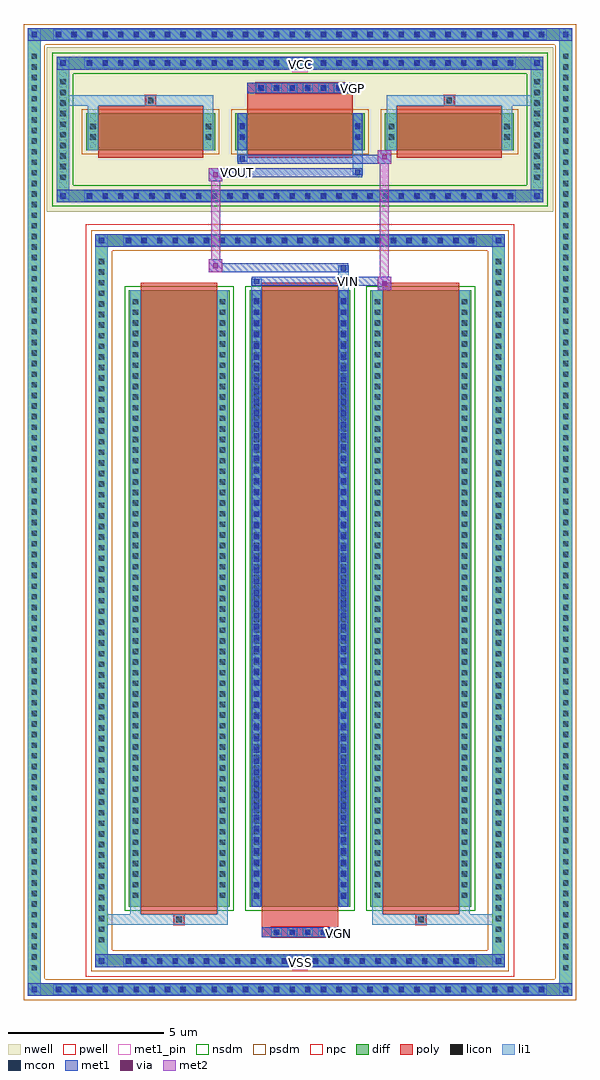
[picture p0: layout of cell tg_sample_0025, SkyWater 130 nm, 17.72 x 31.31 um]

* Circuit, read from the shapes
.subckt tg_sample_0025 VCC VGN VGP VIN VOUT VSS
XM1 VSS VSS VSS VSUBS sky130_fd_pr__nfet_01v8 w=19.77 l=2.46 m=2
XM2 VOUT VGN VIN VSUBS sky130_fd_pr__nfet_01v8 w=19.77 l=2.46
XM3 VCC VCC VCC n1 sky130_fd_pr__pfet_01v8 w=1.18 l=3.37 m=2
XM4 VOUT VGP VIN n1 sky130_fd_pr__pfet_01v8 w=1.18 l=3.37
.ends

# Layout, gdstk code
import gdstk
lib = gdstk.Library(unit=1e-6, precision=5e-09)
def R(c, l, rs):  # rectangles x0, y0, x1, y1
    for r in rs: c.add(gdstk.rectangle(r[:2], r[2:], *l))
def A(c, l, x, y, w, h, nx, ny, dx, dy):  # array of equal rectangles
    R(c, l, [(x+i*dx, y+j*dy, x+i*dx+w, y+j*dy+h) for i in range(nx) for j in range(ny)])
def P(c, l, *ps):  # polygons
    for p in ps: c.add(gdstk.Polygon(p, *l))
nwell = (64, 20)
pwell = (64, 44)
diff = (65, 20)
poly = (66, 20)
licon = (66, 44)
li1 = (67, 20)
mcon = (67, 44)
met1_pin = (68, 16)
met1 = (68, 20)
via = (68, 44)
met2 = (69, 20)
nsdm = (93, 44)
psdm = (94, 20)
npc = (95, 20)

tg_sample_0025 = lib.new_cell('tg_sample_0025')
R(tg_sample_0025, nwell, [(-8.12,12.47,8.12,17.76)])
R(tg_sample_0025, pwell, [(-6.88,-12.07,6.88,12.07)])
A(tg_sample_0025, diff, -7.955, -12.68, 0.41, 0.41, 32, 2, 0.5, 30.64)
A(tg_sample_0025, diff, -8.73, -11.98, 0.41, 0.41, 1, 87, 0, 0.34)
A(tg_sample_0025, diff, 8.32, -11.98, 0.41, 0.41, 1, 87, 0, 0.34)
A(tg_sample_0025, diff, -5.705, -11.76, 0.41, 0.41, 23, 2, 0.5, 23.11)
A(tg_sample_0025, diff, -6.57, -11.085, 0.41, 0.41, 1, 65, 0, 0.34)
A(tg_sample_0025, diff, 6.16, -11.085, 0.41, 0.41, 1, 65, 0, 0.34)
A(tg_sample_0025, diff, -5.5, -9.815, 3.24, 19.77, 3, 1, 3.88, 0)
A(tg_sample_0025, diff, -6.955, 12.78, 0.41, 0.41, 28, 2, 0.5, 4.26)
A(tg_sample_0025, diff, -7.81, 13.38, 0.41, 0.41, 1, 10, 0, 0.34)
A(tg_sample_0025, diff, 7.4, 13.38, 0.41, 0.41, 1, 10, 0, 0.34)
A(tg_sample_0025, diff, -6.865, 14.455, 4.15, 1.18, 3, 1, 4.79, 0)
R(tg_sample_0025, diff, [(-7.955,-12.68,7.955,-12.27), (-8.73,-11.98,-8.32,17.67), (8.32,-11.98,8.73,17.67), (-5.705,-11.76,5.705,-11.35), (-6.57,-11.085,-6.16,11.085), (6.16,-11.085,6.57,11.085), (-5.705,11.35,5.705,11.76), (-6.955,12.78,6.955,13.19), (-7.81,13.38,-7.4,16.85), (7.4,13.38,7.81,16.85), (-6.955,17.04,6.955,17.45), (-7.955,17.96,7.955,18.37)])
P(tg_sample_0025, diff, [(6.57,11.76),(-6.57,11.76),(-6.57,-11.35),(-6.16,-11.35),(-6.16,11.35),(6.16,11.35),(6.16,-11.35),(-6.16,-11.35),(-6.57,-11.35),(-6.57,-11.76),(6.57,-11.76)],
  [(8.73,18.37),(-8.73,18.37),(-8.73,-12.27),(-8.32,-12.27),(-8.32,17.96),(8.32,17.96),(8.32,-12.27),(-8.32,-12.27),(-8.73,-12.27),(-8.73,-12.68),(8.73,-12.68)],
  [(7.81,12.78),(-7.81,12.78),(-7.81,17.04),(-7.4,17.04),(-7.4,13.19),(7.4,13.19),(7.4,17.04),(-7.4,17.04),(-7.81,17.04),(-7.81,17.45),(7.81,17.45)])
A(tg_sample_0025, poly, -0.915, -10.8, 0.33, 0.33, 4, 1, 0.5, 0)
A(tg_sample_0025, poly, -5.11, -10.065, 2.46, 20.27, 3, 1, 3.88, 0)
A(tg_sample_0025, poly, -6.475, 14.205, 3.37, 1.68, 3, 1, 4.79, 0)
A(tg_sample_0025, poly, -1.415, 16.285, 0.33, 0.33, 6, 1, 0.5, 0)
R(tg_sample_0025, poly, [(-1.23,-10.8,1.23,-10.47), (-1.23,-10.47,1.23,-10.065), (-4.045,-10.395,-3.715,-10.065), (-4.045,-10.395,-3.715,-10.065), (3.715,-10.395,4.045,-10.065), (3.715,-10.395,4.045,-10.065), (-4.955,15.885,-4.625,16.215), (-4.955,15.885,-4.625,16.215), (-1.685,15.885,1.685,16.285), (4.625,15.885,4.955,16.215), (4.625,15.885,4.955,16.215), (-1.685,16.285,1.685,16.615)])
A(tg_sample_0025, licon, -7.835, -12.56, 0.17, 0.17, 32, 2, 0.5, 30.64)
A(tg_sample_0025, licon, -8.61, -11.86, 0.17, 0.17, 1, 87, 0, 0.34)
A(tg_sample_0025, licon, 8.44, -11.86, 0.17, 0.17, 1, 87, 0, 0.34)
A(tg_sample_0025, licon, -5.585, -11.64, 0.17, 0.17, 23, 2, 0.5, 23.11)
A(tg_sample_0025, licon, -6.45, -10.965, 0.17, 0.17, 1, 65, 0, 0.34)
A(tg_sample_0025, licon, 6.28, -10.965, 0.17, 0.17, 1, 65, 0, 0.34)
A(tg_sample_0025, licon, -0.835, -10.72, 0.17, 0.17, 4, 1, 0.5, 0)
A(tg_sample_0025, licon, -5.36, -9.535, 0.17, 0.17, 1, 57, 0, 0.34)
A(tg_sample_0025, licon, -2.57, -9.535, 0.17, 0.17, 1, 57, 0, 0.34)
A(tg_sample_0025, licon, -1.48, -9.535, 0.17, 0.17, 1, 57, 0, 0.34)
A(tg_sample_0025, licon, 1.31, -9.535, 0.17, 0.17, 1, 57, 0, 0.34)
A(tg_sample_0025, licon, 2.4, -9.535, 0.17, 0.17, 1, 57, 0, 0.34)
A(tg_sample_0025, licon, 5.19, -9.535, 0.17, 0.17, 1, 57, 0, 0.34)
A(tg_sample_0025, licon, -6.835, 12.9, 0.17, 0.17, 28, 2, 0.5, 4.26)
A(tg_sample_0025, licon, -7.69, 13.5, 0.17, 0.17, 1, 10, 0, 0.34)
A(tg_sample_0025, licon, 7.52, 13.5, 0.17, 0.17, 1, 10, 0, 0.34)
A(tg_sample_0025, licon, -1.335, 16.365, 0.17, 0.17, 6, 1, 0.5, 0)
R(tg_sample_0025, licon, [(-3.965,-10.315,-3.795,-10.145), (3.795,-10.315,3.965,-10.145), (-6.725,14.79,-6.555,14.96), (-3.025,14.79,-2.855,14.96), (-1.935,14.79,-1.765,14.96), (1.765,14.79,1.935,14.96), (2.855,14.79,3.025,14.96), (6.555,14.79,6.725,14.96), (-6.725,15.13,-6.555,15.3), (-3.025,15.13,-2.855,15.3), (-1.935,15.13,-1.765,15.3), (1.765,15.13,1.935,15.3), (2.855,15.13,3.025,15.3), (6.555,15.13,6.725,15.3), (-4.875,15.965,-4.705,16.135), (4.705,15.965,4.875,16.135)])
A(tg_sample_0025, li1, -7.915, -12.64, 0.33, 0.33, 32, 2, 0.5, 30.64)
A(tg_sample_0025, li1, -8.69, -11.94, 0.33, 0.33, 1, 87, 0, 0.34)
A(tg_sample_0025, li1, 8.36, -11.94, 0.33, 0.33, 1, 87, 0, 0.34)
A(tg_sample_0025, li1, -5.665, -11.72, 0.33, 0.33, 23, 2, 0.5, 23.11)
A(tg_sample_0025, li1, -6.53, -11.045, 0.33, 0.33, 1, 65, 0, 0.34)
A(tg_sample_0025, li1, 6.2, -11.045, 0.33, 0.33, 1, 65, 0, 0.34)
A(tg_sample_0025, li1, -0.915, -10.8, 0.33, 0.33, 4, 1, 0.5, 0)
A(tg_sample_0025, li1, -5.44, -9.615, 0.33, 0.33, 1, 57, 0, 0.34)
A(tg_sample_0025, li1, -2.65, -9.615, 0.33, 0.33, 1, 57, 0, 0.34)
A(tg_sample_0025, li1, -1.56, -9.615, 0.33, 0.33, 1, 57, 0, 0.34)
A(tg_sample_0025, li1, 1.23, -9.615, 0.33, 0.33, 1, 57, 0, 0.34)
A(tg_sample_0025, li1, 2.32, -9.615, 0.33, 0.33, 1, 57, 0, 0.34)
A(tg_sample_0025, li1, 5.11, -9.615, 0.33, 0.33, 1, 57, 0, 0.34)
A(tg_sample_0025, li1, -1.48, -9.555, 0.17, 0.17, 1, 54, 0, 0.36)
A(tg_sample_0025, li1, 1.31, -9.555, 0.17, 0.17, 1, 54, 0, 0.36)
A(tg_sample_0025, li1, -6.915, 12.82, 0.33, 0.33, 28, 2, 0.5, 4.26)
A(tg_sample_0025, li1, -7.77, 13.42, 0.33, 0.33, 1, 10, 0, 0.34)
A(tg_sample_0025, li1, 7.44, 13.42, 0.33, 0.33, 1, 10, 0, 0.34)
A(tg_sample_0025, li1, -1.415, 16.285, 0.33, 0.33, 6, 1, 0.5, 0)
R(tg_sample_0025, li1, [(-8.73,-12.68,-8.32,-12.27), (8.32,-12.68,8.73,-12.27), (-7.915,-12.64,7.915,-12.31), (-8.61,-12.56,-8.44,-12.39), (-8.61,-12.56,-8.44,-12.39), (8.44,-12.56,8.61,-12.39), (8.44,-12.56,8.61,-12.39), (-8.73,-12.27,-8.32,17.96), (8.32,-12.27,8.73,17.96), (-6.57,-11.76,-6.16,-11.35), (6.16,-11.76,6.57,-11.35), (-5.665,-11.72,5.665,-11.39), (-6.45,-11.64,-6.28,-11.47), (-6.45,-11.64,-6.28,-11.47), (6.28,-11.64,6.45,-11.47), (6.28,-11.64,6.45,-11.47), (-6.57,-11.35,-6.16,11.35), (6.16,-11.35,6.57,11.35), (-6.57,-10.395,-4.045,-10.065), (-5.44,-10.395,-4.045,-10.065), (-5.44,-10.395,-5.11,-9.815), (-4.045,-10.395,-3.715,-10.065), (-3.715,-10.395,-2.32,-10.065), (-2.65,-10.395,-2.32,-9.815), (2.32,-10.395,3.715,-10.065), (2.32,-10.395,2.65,-9.815), (3.715,-10.395,4.045,-10.065), (3.715,-10.395,6.57,-10.065), (4.045,-10.395,5.44,-10.065), (5.11,-10.395,5.44,-9.815), (-5.44,-9.815,-5.11,9.955), (-2.65,-9.815,-2.32,9.955), (-1.56,-9.815,-1.23,9.955), (1.23,-9.815,1.56,9.955), (2.32,-9.815,2.65,9.955), (5.11,-9.815,5.44,9.955), (-1.48,-9.555,-1.31,9.695), (1.31,-9.555,1.48,9.695), (-1.56,9.955,-1.23,10.33), (1.23,9.955,1.56,10.76), (-1.48,10.16,-1.31,10.33), (1.31,10.59,1.48,10.76), (-6.57,11.35,-6.16,11.76), (6.16,11.35,6.57,11.76), (-5.665,11.39,5.665,11.72), (-6.45,11.47,-6.28,11.64), (-6.45,11.47,-6.28,11.64), (6.28,11.47,6.45,11.64), (6.28,11.47,6.45,11.64), (-7.81,12.78,-7.4,13.19), (7.4,12.78,7.81,13.19), (-6.915,12.82,6.915,13.15), (-7.69,12.9,-7.52,13.07), (-7.69,12.9,-7.52,13.07), (7.52,12.9,7.69,13.07), (7.52,12.9,7.69,13.07), (-7.81,13.19,-7.4,17.04), (7.4,13.19,7.81,17.04), (1.685,13.65,2.015,14.455), (1.765,13.65,1.935,13.82), (-2.015,14.08,-1.685,14.455), (-1.935,14.08,-1.765,14.25), (-6.805,14.455,-6.475,15.635), (-3.105,14.455,-2.775,15.635), (-2.015,14.455,-1.685,15.635), (1.685,14.455,2.015,15.635), (2.775,14.455,3.105,15.635), (6.475,14.455,6.805,15.635), (-6.805,14.71,-6.475,15.04), (-3.105,14.71,-2.775,15.04), (-2.015,14.71,-1.685,15.04), (1.685,14.71,2.015,15.04), (2.775,14.71,3.105,15.04), (6.475,14.71,6.805,15.04), (-1.935,14.78,-1.765,14.95), (-1.935,14.78,-1.765,15.31), (1.765,14.78,1.935,14.95), (1.765,14.78,1.935,15.31), (-6.805,15.05,-6.475,15.38), (-3.105,15.05,-2.775,15.38), (-2.015,15.05,-1.685,15.38), (1.685,15.05,2.015,15.38), (2.775,15.05,3.105,15.38), (6.475,15.05,6.805,15.38), (-1.935,15.14,-1.765,15.31), (1.765,15.14,1.935,15.31), (-6.805,15.635,-6.475,16.215), (-3.105,15.635,-2.775,16.215), (2.775,15.635,3.105,16.215), (6.475,15.635,6.805,16.215), (-7.81,15.885,-4.955,16.215), (-6.805,15.885,-4.955,16.215), (-4.955,15.885,-4.625,16.215), (-4.625,15.885,-2.775,16.215), (2.775,15.885,4.625,16.215), (4.625,15.885,4.955,16.215), (4.625,15.885,7.81,16.215), (4.955,15.885,6.805,16.215), (-7.81,17.04,-7.4,17.45), (7.4,17.04,7.81,17.45), (-6.915,17.08,6.915,17.41), (-7.69,17.16,-7.52,17.33), (-7.69,17.16,-7.52,17.33), (7.52,17.16,7.69,17.33), (7.52,17.16,7.69,17.33), (-8.73,17.96,-8.32,18.37), (8.32,17.96,8.73,18.37), (-7.915,18,7.915,18.33), (-8.61,18.08,-8.44,18.25), (-8.61,18.08,-8.44,18.25), (8.44,18.08,8.61,18.25), (8.44,18.08,8.61,18.25)])
A(tg_sample_0025, mcon, -7.835, -12.56, 0.17, 0.17, 32, 2, 0.5, 30.64)
A(tg_sample_0025, mcon, -5.585, -11.64, 0.17, 0.17, 23, 2, 0.5, 23.11)
A(tg_sample_0025, mcon, -0.835, -10.72, 0.17, 0.17, 4, 1, 0.5, 0)
A(tg_sample_0025, mcon, -1.48, -9.555, 0.17, 0.17, 1, 54, 0, 0.36)
A(tg_sample_0025, mcon, 1.31, -9.555, 0.17, 0.17, 1, 54, 0, 0.36)
A(tg_sample_0025, mcon, -6.835, 12.9, 0.17, 0.17, 28, 2, 0.5, 4.26)
A(tg_sample_0025, mcon, -1.335, 16.365, 0.17, 0.17, 6, 1, 0.5, 0)
R(tg_sample_0025, mcon, [(-8.61,-12.56,-8.44,-12.39), (8.44,-12.56,8.61,-12.39), (-6.45,-11.64,-6.28,-11.47), (6.28,-11.64,6.45,-11.47), (-1.48,10.16,-1.31,10.33), (1.31,10.59,1.48,10.76), (-6.45,11.47,-6.28,11.64), (6.28,11.47,6.45,11.64), (-7.69,12.9,-7.52,13.07), (7.52,12.9,7.69,13.07), (1.765,13.65,1.935,13.82), (-1.935,14.08,-1.765,14.25), (-1.935,14.78,-1.765,14.95), (1.765,14.78,1.935,14.95), (-1.935,15.14,-1.765,15.31), (1.765,15.14,1.935,15.31), (-7.69,17.16,-7.52,17.33), (7.52,17.16,7.69,17.33), (-8.61,18.08,-8.44,18.25), (8.44,18.08,8.61,18.25)])
R(tg_sample_0025, met1_pin, [(-0.25,-11.85,0.25,-11.35), (1.095,-10.8,1.365,-10.53), (1.405,10.1,1.675,10.37), (-2.13,13.59,-1.86,13.86), (1.55,16.285,1.82,16.555), (-0.25,16.95,0.25,17.45)])
A(tg_sample_0025, met1, -7.895, -12.62, 0.29, 0.29, 32, 2, 0.5, 30.64)
A(tg_sample_0025, met1, -5.645, -11.7, 0.29, 0.29, 23, 2, 0.5, 23.11)
A(tg_sample_0025, met1, -0.895, -10.78, 0.29, 0.29, 4, 1, 0.5, 0)
A(tg_sample_0025, met1, -1.54, -9.615, 0.29, 0.29, 1, 54, 0, 0.36)
A(tg_sample_0025, met1, 1.25, -9.615, 0.29, 0.29, 1, 54, 0, 0.36)
A(tg_sample_0025, met1, -6.895, 12.84, 0.29, 0.29, 28, 2, 0.5, 4.26)
A(tg_sample_0025, met1, -1.395, 16.305, 0.29, 0.29, 6, 1, 0.5, 0)
R(tg_sample_0025, met1, [(-8.73,-12.68,-8.32,-12.27), (-8.73,-12.68,-8.32,-12.27), (-8.32,-12.68,8.32,-12.27), (8.32,-12.68,8.73,-12.27), (8.32,-12.68,8.73,-12.27), (-8.67,-12.62,-8.38,-12.33), (8.38,-12.62,8.67,-12.33), (-6.57,-11.76,-6.16,-11.35), (-6.57,-11.76,-6.16,-11.35), (-6.16,-11.76,6.16,-11.35), (6.16,-11.76,6.57,-11.35), (6.16,-11.76,6.57,-11.35), (-6.51,-11.7,-6.22,-11.41), (6.22,-11.7,6.51,-11.41), (-1.23,-10.8,1.23,-10.47), (-1.54,-9.815,-1.25,9.955), (1.25,-9.815,1.54,9.955), (2.495,9.96,2.925,10.39), (-1.54,10.1,-1.25,10.39), (-1.54,10.1,1.54,10.39), (1.54,10.1,2.925,10.39), (-2.925,10.53,-1.54,10.82), (-2.925,10.53,-2.495,10.96), (-1.54,10.53,1.54,10.82), (1.25,10.53,1.54,10.82), (-6.57,11.35,-6.16,11.76), (-6.57,11.35,-6.16,11.76), (-6.16,11.35,6.16,11.76), (6.16,11.35,6.57,11.76), (6.16,11.35,6.57,11.76), (-6.51,11.41,-6.22,11.7), (6.22,11.41,6.51,11.7), (-7.81,12.78,-7.4,13.19), (-7.81,12.78,-7.4,13.19), (-7.4,12.78,7.4,13.19), (7.4,12.78,7.81,13.19), (7.4,12.78,7.81,13.19), (-7.75,12.84,-7.46,13.13), (7.46,12.84,7.75,13.13), (-2.925,13.45,-2.495,13.88), (-2.925,13.59,-1.995,13.88), (-1.995,13.59,1.995,13.88), (1.705,13.59,1.995,13.88), (-1.995,14.02,-1.705,14.31), (-1.995,14.02,1.995,14.31), (1.995,14.02,2.925,14.31), (2.495,14.02,2.925,14.45), (-1.995,14.455,-1.705,15.635), (1.705,14.455,1.995,15.635), (-1.995,14.72,-1.705,15.01), (1.705,14.72,1.995,15.01), (-1.995,15.08,-1.705,15.37), (1.705,15.08,1.995,15.37), (-1.685,16.285,1.685,16.615), (-7.81,17.04,-7.4,17.45), (-7.81,17.04,-7.4,17.45), (-7.4,17.04,7.4,17.45), (7.4,17.04,7.81,17.45), (7.4,17.04,7.81,17.45), (-7.75,17.1,-7.46,17.39), (7.46,17.1,7.75,17.39), (-8.73,17.96,-8.32,18.37), (-8.73,17.96,-8.32,18.37), (-8.32,17.96,8.32,18.37), (8.32,17.96,8.73,18.37), (8.32,17.96,8.73,18.37), (-8.67,18.02,-8.38,18.31), (8.38,18.02,8.67,18.31)])
R(tg_sample_0025, via, [(2.635,10.1,2.785,10.25), (-2.785,10.67,-2.635,10.82), (-2.785,13.59,-2.635,13.74), (2.635,14.16,2.785,14.31)])
R(tg_sample_0025, met2, [(2.495,9.96,2.925,10.39), (2.565,9.96,2.855,14.45), (2.855,9.96,2.925,10.39), (2.545,10.01,2.875,10.34), (-2.925,10.53,-2.495,10.96), (-2.855,10.53,-2.565,13.88), (-2.565,10.53,-2.495,10.96), (-2.875,10.58,-2.545,10.91), (-2.925,13.45,-2.495,13.88), (-2.565,13.45,-2.495,13.88), (-2.875,13.5,-2.545,13.83), (2.495,14.02,2.925,14.45), (2.855,14.02,2.925,14.45), (2.545,14.07,2.875,14.4)])
A(tg_sample_0025, nsdm, -5.63, -9.945, 3.5, 20.03, 3, 1, 3.88, 0)
P(tg_sample_0025, nsdm, [(7.94,12.65),(-7.94,12.65),(-7.94,16.91),(-7.27,16.91),(-7.27,13.32),(7.27,13.32),(7.27,16.91),(-7.27,16.91),(-7.94,16.91),(-7.94,17.58),(7.94,17.58)])
A(tg_sample_0025, psdm, -6.995, 14.325, 4.41, 1.44, 3, 1, 4.79, 0)
P(tg_sample_0025, psdm, [(6.7,11.89),(-6.7,11.89),(-6.7,-11.22),(-6.03,-11.22),(-6.03,11.22),(6.03,11.22),(6.03,-11.22),(-6.03,-11.22),(-6.7,-11.22),(-6.7,-11.89),(6.7,-11.89)],
  [(8.86,18.5),(-8.86,18.5),(-8.86,-12.14),(-8.19,-12.14),(-8.19,17.83),(8.19,17.83),(8.19,-12.14),(-8.19,-12.14),(-8.86,-12.14),(-8.86,-12.81),(8.86,-12.81)])
A(tg_sample_0025, npc, -0.935, -10.82, 0.37, 0.37, 4, 1, 0.5, 0)
A(tg_sample_0025, npc, -1.435, 16.265, 0.37, 0.37, 6, 1, 0.5, 0)
R(tg_sample_0025, npc, [(-0.935,-10.82,-0.065,-10.45), (-0.935,-10.82,-0.065,-10.45), (-0.435,-10.82,0.435,-10.45), (-0.435,-10.82,0.435,-10.45), (0.065,-10.82,0.935,-10.45), (0.065,-10.82,0.935,-10.45), (-4.065,-10.415,-3.695,-10.045), (3.695,-10.415,4.065,-10.045), (-4.975,15.865,-4.605,16.235), (4.605,15.865,4.975,16.235), (-1.435,16.265,-0.565,16.635), (-1.435,16.265,-0.565,16.635), (-0.935,16.265,-0.065,16.635), (-0.935,16.265,-0.065,16.635), (-0.435,16.265,0.435,16.635), (-0.435,16.265,0.435,16.635), (0.065,16.265,0.935,16.635), (0.065,16.265,0.935,16.635), (0.565,16.265,1.435,16.635), (0.565,16.265,1.435,16.635)])
tg_sample_0025.add(gdstk.Label('VIN', (1.54,10.235), layer=68, texttype=5))
tg_sample_0025.add(gdstk.Label('VGN', (1.23,-10.665), layer=68, texttype=5))
tg_sample_0025.add(gdstk.Label('VGP', (1.685,16.42), layer=68, texttype=5))
tg_sample_0025.add(gdstk.Label('VSS', (0,-11.6), layer=68, texttype=5))
tg_sample_0025.add(gdstk.Label('VCC', (0,17.2), layer=68, texttype=5))
tg_sample_0025.add(gdstk.Label('VOUT', (-1.995,13.725), layer=68, texttype=5))

lib.write_gds('tg_sample_0025.gds')
